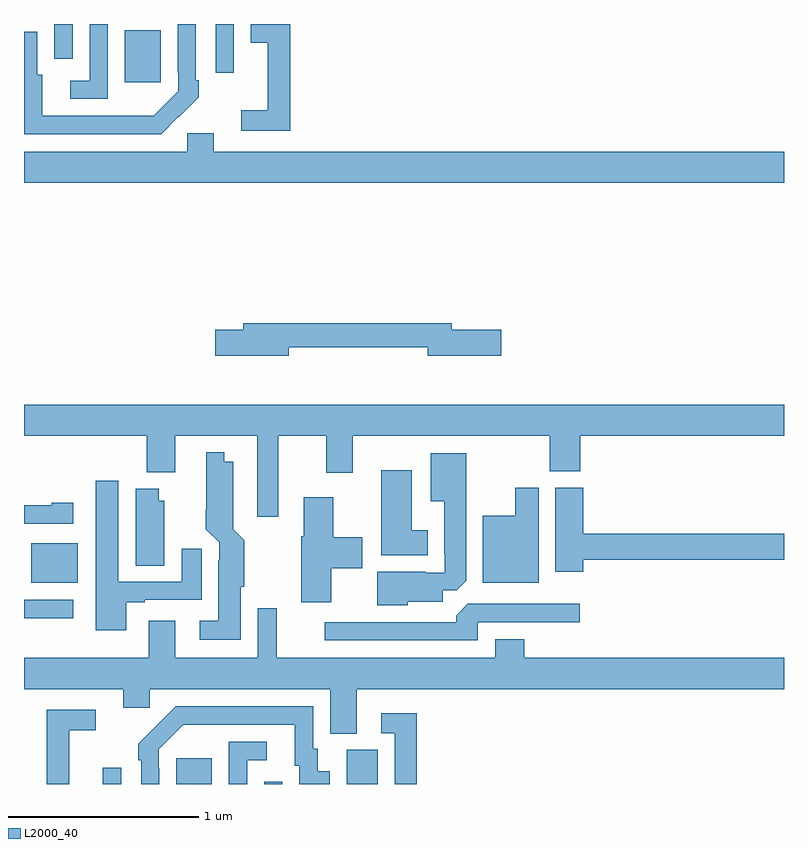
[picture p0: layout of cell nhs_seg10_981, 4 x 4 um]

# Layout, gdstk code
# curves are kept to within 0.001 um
import gdstk
lib = gdstk.Library(unit=1e-6, precision=1e-09)
def R(c, l, rs):  # rectangles x0, y0, x1, y1
    for r in rs: c.add(gdstk.rectangle(r[:2], r[2:], *l))
def P(c, l, *ps):  # polygons
    for p in ps: c.add(gdstk.Polygon(p, *l))
L2000_40 = (2000, 40)

nhs_seg10_981 = lib.new_cell('nhs_seg10_981')
R(nhs_seg10_981, L2000_40, [(161.415,1282.5,161.511,1282.585), (161.801,1282.5,161.989,1282.636), (162.264,1282.5,162.36,1282.513), (162.698,1282.5,162.862,1282.68), (161,1283.373,161.26,1283.469), (161.039,1283.558,161.284,1283.767), (161.531,1286.193,161.719,1286.467), (162.009,1286.244,162.105,1286.5), (161.16,1286.316,161.256,1286.5)])
P(nhs_seg10_981, L2000_40, [(161.813,1286.011),(161.814,1286.01),(161.919,1286.115),(161.919,1286.203),(161.904,1286.203),(161.904,1286.5),(161.808,1286.5),(161.808,1286.245),(161.811,1286.245),(161.811,1286.145),(161.683,1286.017),(161.095,1286.016),(161.095,1286.232),(161.071,1286.232),(161.071,1286.458),(161,1286.458),(161,1285.92),(161.722,1285.92)],
  [(162.401,1286.5),(162.194,1286.5),(162.194,1286.402),(162.284,1286.402),(162.284,1286.047),(162.144,1286.047),(162.144,1285.938),(162.401,1285.938)],
  [(161.442,1286.5),(161.346,1286.5),(161.346,1286.202),(161.244,1286.202),(161.244,1286.106),(161.442,1286.106)],
  [(165,1285.828),(161.998,1285.828),(161.998,1285.926),(161.859,1285.926),(161.859,1285.828),(161,1285.828),(161,1285.664),(165,1285.664)],
  [(162.394,1284.798),(163.124,1284.798),(163.124,1284.755),(163.513,1284.755),(163.513,1284.89),(163.252,1284.89),(163.252,1284.926),(162.155,1284.926),(162.155,1284.89),(162.006,1284.89),(162.006,1284.755),(162.394,1284.755)],
  [(161,1284.332),(161.645,1284.332),(161.645,1284.14),(161.797,1284.14),(161.797,1284.332),(162.227,1284.332),(162.227,1283.907),(162.337,1283.907),(162.337,1284.332),(162.59,1284.332),(162.59,1284.138),(162.73,1284.138),(162.73,1284.332),(163.768,1284.332),(163.768,1284.145),(163.928,1284.145),(163.928,1284.332),(165,1284.332),(165,1284.496),(161,1284.496)],
  [(162.142,1283.538),(162.16,1283.538),(162.16,1283.783),(162.101,1283.842),(162.1,1284.196),(162.055,1284.196),(162.055,1284.247),(161.958,1284.247),(161.957,1283.842),(162.027,1283.772),(162.027,1283.678),(162.023,1283.678),(162.023,1283.359),(161.925,1283.359),(161.925,1283.258),(162.142,1283.258)],
  [(163.02,1283.459),(163.204,1283.459),(163.204,1283.52),(163.278,1283.52),(163.327,1283.569),(163.327,1284.241),(163.142,1284.241),(163.142,1283.987),(163.211,1283.987),(163.211,1283.713),(163.215,1283.713),(163.215,1283.613),(163.115,1283.613),(163.115,1283.617),(162.86,1283.617),(162.86,1283.441),(163.02,1283.441)],
  [(163.126,1283.836),(163.042,1283.836),(163.042,1284.151),(162.881,1284.151),(162.881,1283.705),(163.126,1283.705)],
  [(161.539,1283.457),(161.635,1283.457),(161.635,1283.469),(161.935,1283.469),(161.935,1283.737),(161.831,1283.737),(161.831,1283.565),(161.497,1283.565),(161.497,1284.097),(161.378,1284.097),(161.378,1283.31),(161.539,1283.31)],
  [(163.943,1283.68),(165,1283.68),(165,1283.816),(163.943,1283.816),(163.943,1284.06),(163.796,1284.06),(163.796,1283.616),(163.943,1283.616)],
  [(163.708,1284.058),(163.586,1284.058),(163.586,1283.911),(163.415,1283.911),(163.415,1283.558),(163.708,1283.558)],
  [(161.737,1283.991),(161.71,1283.991),(161.71,1284.055),(161.588,1284.055),(161.588,1283.65),(161.737,1283.65)],
  [(162.616,1283.636),(162.781,1283.636),(162.781,1283.799),(162.628,1283.799),(162.628,1284.01),(162.473,1284.01),(162.473,1283.805),(162.458,1283.805),(162.458,1283.457),(162.616,1283.457)],
  [(161.26,1283.98),(161.147,1283.98),(161.147,1283.967),(161,1283.967),(161,1283.871),(161.26,1283.871)],
  [(163.389,1283.352),(163.924,1283.352),(163.924,1283.448),(163.335,1283.448),(163.274,1283.386),(163.274,1283.352),(162.582,1283.352),(162.582,1283.256),(163.389,1283.256)],
  [(162.751,1283),(165,1283),(165,1283.164),(163.634,1283.164),(163.634,1283.263),(163.481,1283.263),(163.481,1283.164),(162.33,1283.164),(162.33,1283.425),(162.231,1283.425),(162.231,1283.164),(161.797,1283.164),(161.797,1283.359),(161.657,1283.359),(161.657,1283.164),(161,1283.164),(161,1283),(161.522,1283),(161.522,1282.902),(161.661,1282.902),(161.661,1283),(162.611,1283),(162.611,1282.765),(162.751,1282.765)],
  [(161.712,1282.583),(161.709,1282.583),(161.709,1282.683),(161.838,1282.812),(162.425,1282.812),(162.425,1282.596),(162.449,1282.596),(162.449,1282.5),(162.61,1282.5),(162.61,1282.567),(162.547,1282.567),(162.547,1282.686),(162.522,1282.686),(162.522,1282.908),(161.798,1282.908),(161.601,1282.713),(161.601,1282.625),(161.616,1282.625),(161.616,1282.5),(161.712,1282.5)],
  [(161.237,1282.782),(161.377,1282.782),(161.377,1282.89),(161.119,1282.89),(161.119,1282.5),(161.237,1282.5)],
  [(163.067,1282.873),(162.879,1282.873),(162.879,1282.767),(162.951,1282.767),(162.951,1282.5),(163.067,1282.5)],
  [(162.174,1282.626),(162.277,1282.626),(162.277,1282.722),(162.078,1282.722),(162.078,1282.5),(162.174,1282.5)])

lib.write_gds('nhs_seg10_981.gds')
